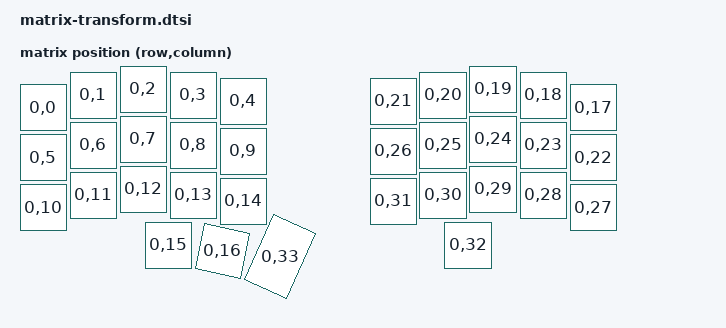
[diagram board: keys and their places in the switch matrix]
#include <dt-bindings/zmk/matrix_transform.h>
#include <physical_layouts.dtsi>

/ {
  default_transform: keymap_transform_0 {
    compatible = "zmk,matrix-transform";
        columns = <34>;
        rows = <1>;
        map = <
        RC(0,0)  RC(0,1)  RC(0,2)  RC(0,3)  RC(0,4)    RC(0,21) RC(0,20) RC(0,19) RC(0,18) RC(0,17)
        RC(0,5)  RC(0,6)  RC(0,7)  RC(0,8)  RC(0,9)    RC(0,26) RC(0,25) RC(0,24) RC(0,23) RC(0,22)
        RC(0,10) RC(0,11) RC(0,12) RC(0,13) RC(0,14)   RC(0,31) RC(0,30) RC(0,29) RC(0,28) RC(0,27)
                                   RC(0,15) RC(0,16)   RC(0,33) RC(0,32)>;
  };

  default_layout: default_layout {
    compatible = "zmk,physical-layout";
    display-name = "SWEEP";
    transform = <&default_transform>;

    keys //                     w   h    x    y     rot   rx   ry
            = <&key_physical_attrs 100 100 0 37 0 0 0>,
           <&key_physical_attrs 100 100 100 12 0 0 0>,
           <&key_physical_attrs 100 100 200 0 0 0 0>,
           <&key_physical_attrs 100 100 300 12 0 0 0>,
           <&key_physical_attrs 100 100 400 24 0 0 0>,
           <&key_physical_attrs 100 100 700 24 0 0 0>,
           <&key_physical_attrs 100 100 800 12 0 0 0>,
           <&key_physical_attrs 100 100 900 0 0 0 0>,
           <&key_physical_attrs 100 100 1000 12 0 0 0>,
           <&key_physical_attrs 100 100 1100 37 0 0 0>,
           <&key_physical_attrs 100 100 0 137 0 0 0>,
           <&key_physical_attrs 100 100 100 112 0 0 0>,
           <&key_physical_attrs 100 100 200 100 0 0 0>,
           <&key_physical_attrs 100 100 300 112 0 0 0>,
           <&key_physical_attrs 100 100 400 124 0 0 0>,
           <&key_physical_attrs 100 100 700 124 0 0 0>,
           <&key_physical_attrs 100 100 800 112 0 0 0>,
           <&key_physical_attrs 100 100 900 100 0 0 0>,
           <&key_physical_attrs 100 100 1000 112 0 0 0>,
           <&key_physical_attrs 100 100 1100 137 0 0 0>,
           <&key_physical_attrs 100 100 0 237 0 0 0>,
           <&key_physical_attrs 100 100 100 212 0 0 0>,
           <&key_physical_attrs 100 100 200 200 0 0 0>,
           <&key_physical_attrs 100 100 300 212 0 0 0>,
           <&key_physical_attrs 100 100 400 224 0 0 0>,
           <&key_physical_attrs 100 100 700 224 0 0 0>,
           <&key_physical_attrs 100 100 800 212 0 0 0>,
           <&key_physical_attrs 100 100 900 200 0 0 0>,
           <&key_physical_attrs 100 100 1000 212 0 0 0>,
           <&key_physical_attrs 100 100 1100 237 0 0 0>,
           <&key_physical_attrs 100 100 250 312 0 0 0>,
           <&key_physical_attrs 100 100 350 312 1200 350 412>,
           <&key_physical_attrs 100 150 448 283 2400 448 433>,
           <&key_physical_attrs 100 100 850 312 0 0 0>;
  };
};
